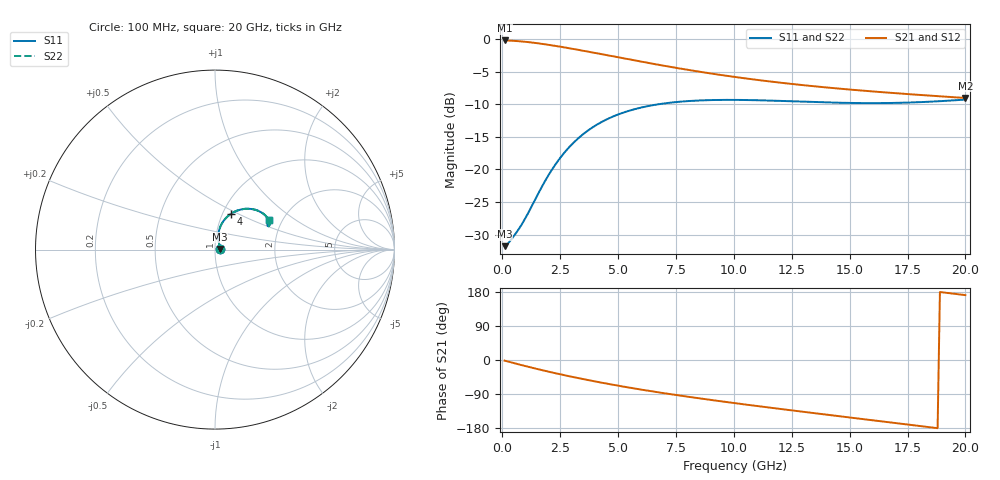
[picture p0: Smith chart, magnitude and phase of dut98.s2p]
! Touchstone file exported from HFSS 2024.1.0
!  File:  C:/UserFiles/LocalFiles/RDL_TSV_Batchsim/temp_RDL_TSV_98_1779418888.aedt
!  Generated:  11:19:45 AM May 22, 2026
!  Design:  RDL_TSV
!  Project:  temp_RDL_TSV_98_1779418888
!  Setup:  Setup1
!  Solution:  Sweep
! Variables:
!  dtsv = 8.02um
!  hbump = 3um
!  htsv = 86.84um
!  ldown = 219.33um
!  lrdl = 444.46um
!  p = 40
!  p1 = 49.14um
!  rhole = 10um
!  subl = 2435.83um
!  t = 450um
!  tdown = 2.06um
!  trdl = 2.16um
!  viad = 10um
!  wdown = 12.61um
!  wrdl = 17.92um
!  xbump = 18um
# GHz S MA R 50.000000
! Terminal data exported
! Port[1] = TM1_1_T1
! Port[2] = TM1_4_T1
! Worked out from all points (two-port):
!   200 points, 100 MHz to 20 GHz, reference 50 ohm
!   highest |S21| = -0.23 dB at 100 MHz (marker M1); lowest = -9.0 dB at 20 GHz (marker M2)
!   |S21| within 3 dB of the highest: start of sweep to 5.628 GHz
!   lowest |S11| = -31.8 dB at 100 MHz (marker M3), VSWR 1.05, Z = 52.6 + j0.383 ohm
!   |S11| at or under -10 dB: start of sweep to 6.762 GHz
!   |S22| runs from -31.8 to -9.3 dB; largest |S21 - S12| = 8e-15
!   S11 on the Smith chart (normalised r, x): 100 MHz: 1.05, +0.01; 4 GHz: 1.09, +0.45; 20 GHz: 1.71, +0.64
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0.1  0.0258 8.1  0.9742 -1.7  0.9742 -1.7  0.0258 8.1
! Gamma 0 0 0 0
! Port Impedance 50 0 50 0
0.4  0.02921 29.0  0.9698 -6.6  0.9698 -6.6  0.02921 29.0
0.8  0.0369 49.7  0.9585 -13.0  0.9585 -13.0  0.03689 49.7
1.3  0.0534 68.1  0.9383 -20.6  0.9383 -20.6  0.0534 68.1
1.8  0.07874 76.5  0.913 -28.0  0.913 -28.0  0.07876 76.5
2.2  0.1031 78.1  0.8906 -33.6  0.8906 -33.6  0.1032 78.1
2.6  0.1291 77.1  0.867 -39.0  0.867 -39.0  0.1292 77.1
3  0.1553 74.7  0.8428 -44.2  0.8428 -44.2  0.1554 74.8
3.5  0.1868 70.7  0.8123 -50.5  0.8123 -50.5  0.1869 70.8
4  0.2157 66.3  0.7821 -56.5  0.7821 -56.5  0.2159 66.4
4.6  0.2461 61.0  0.7467 -63.3  0.7467 -63.3  0.2464 61.1
5.3  0.2754 55.1  0.7073 -70.9  0.7073 -70.9  0.2757 55.2
6  0.2981 49.6  0.6704 -78.1  0.6704 -78.1  0.2984 49.7
6.8  0.317 44.1  0.6316 -85.9  0.6316 -85.9  0.3174 44.2
8.4  0.337 35.3  0.5652 -100.2  0.5652 -100.2  0.3375 35.4
10.1  0.3411 28.9  0.5097 -114.3  0.5097 -114.3  0.3417 29.0
11.7  0.3365 25.3  0.469 -126.8  0.469 -126.8  0.3371 25.3
13.4  0.3288 23.6  0.4351 -139.7  0.4351 -139.7  0.3294 23.7
15  0.3233 23.8  0.4096 -151.7  0.4096 -151.7  0.324 23.8
16.7  0.3229 25.2  0.3873 -164.3  0.3873 -164.3  0.3236 25.2
18.3  0.3294 26.9  0.3695 -176.2  0.3695 -176.2  0.33 27.0
20  0.3431 28.5  0.353 171.2  0.353 171.2  0.3438 28.5
